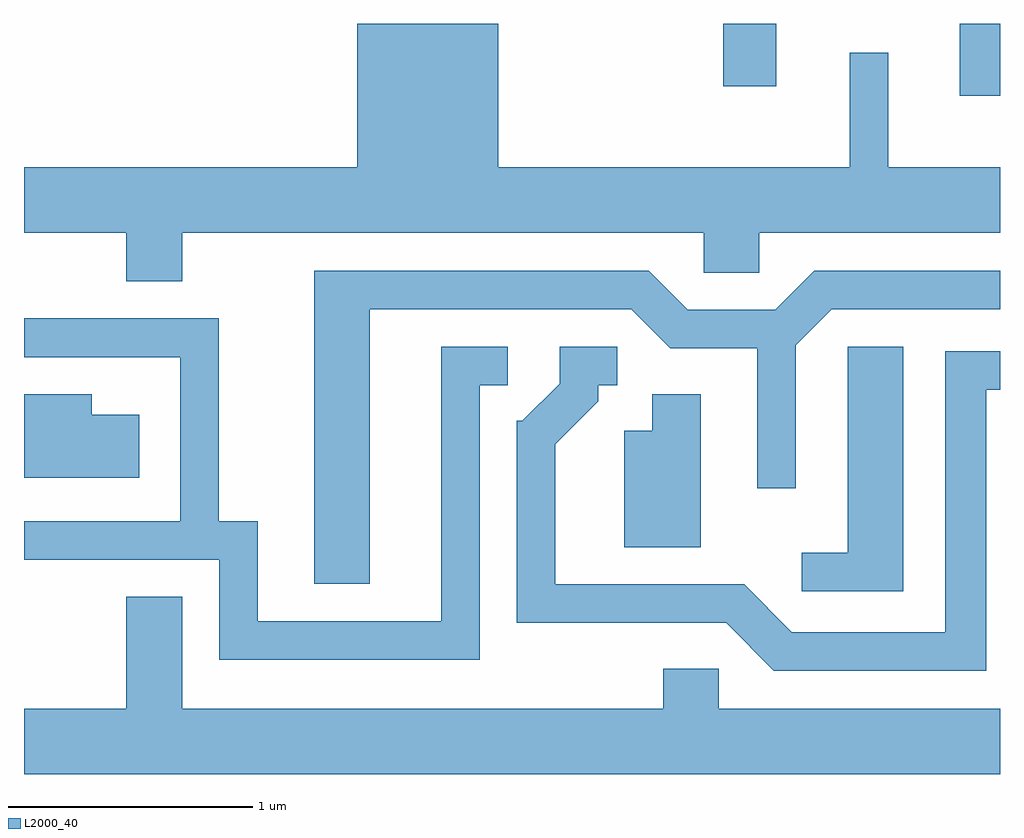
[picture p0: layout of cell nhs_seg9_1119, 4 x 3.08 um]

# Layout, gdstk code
import gdstk
lib = gdstk.Library(unit=1e-6, precision=1e-09)
def R(c, l, rs):  # rectangles x0, y0, x1, y1
    for r in rs: c.add(gdstk.rectangle(r[:2], r[2:], *l))
def P(c, l, *ps):  # polygons
    for p in ps: c.add(gdstk.Polygon(p, *l))
L2000_40 = (2000, 40)

nhs_seg9_1119 = lib.new_cell('nhs_seg9_1119')
R(nhs_seg9_1119, L2000_40, [(221.446,2010.136,221.611,2010.432), (220.476,2010.176,220.694,2010.432)])
P(nhs_seg9_1119, L2000_40, [(218.259,2009.576),(220.396,2009.576),(220.396,2009.411),(220.624,2009.411),(220.624,2009.576),(221.611,2009.576),(221.611,2009.844),(221.154,2009.844),(221.154,2010.313),(220.996,2010.313),(220.996,2009.844),(219.554,2009.844),(219.554,2010.432),(218.976,2010.432),(218.976,2009.844),(217.611,2009.844),(217.611,2009.576),(218.031,2009.576),(218.031,2009.376),(218.259,2009.376)],
  [(219.029,2009.261),(220.099,2009.261),(220.259,2009.101),(220.616,2009.101),(220.616,2008.528),(220.774,2008.528),(220.774,2009.114),(220.922,2009.261),(221.611,2009.261),(221.611,2009.419),(220.849,2009.419),(220.689,2009.259),(220.332,2009.259),(220.172,2009.419),(218.801,2009.419),(218.801,2008.136),(219.029,2008.136)],
  [(219.479,2008.951),(219.593,2008.951),(219.593,2009.109),(219.321,2009.109),(219.321,2007.984),(218.569,2007.984),(218.569,2008.394),(218.409,2008.394),(218.409,2009.224),(217.611,2009.224),(217.611,2009.066),(218.251,2009.066),(218.251,2008.394),(217.611,2008.394),(217.611,2008.236),(218.411,2008.236),(218.411,2007.826),(219.479,2007.826)],
  [(221.554,2008.931),(221.611,2008.931),(221.611,2009.089),(221.386,2009.089),(221.386,2007.939),(220.757,2007.939),(220.562,2008.134),(219.789,2008.134),(219.789,2008.709),(219.964,2008.884),(219.964,2008.951),(220.043,2008.951),(220.043,2009.109),(219.806,2009.109),(219.806,2008.957),(219.654,2008.804),(219.631,2008.804),(219.631,2007.976),(220.489,2007.976),(220.684,2007.781),(221.554,2007.781)],
  [(221.214,2009.109),(220.986,2009.109),(220.986,2008.264),(220.798,2008.264),(220.798,2008.106),(221.214,2008.106)],
  [(220.384,2008.914),(220.186,2008.914),(220.186,2008.764),(220.071,2008.764),(220.071,2008.286),(220.384,2008.286)],
  [(218.084,2008.829),(217.889,2008.829),(217.889,2008.914),(217.611,2008.914),(217.611,2008.571),(218.084,2008.571)],
  [(221.611,2007.624),(220.459,2007.624),(220.459,2007.789),(220.231,2007.789),(220.231,2007.624),(218.259,2007.624),(218.259,2008.084),(218.031,2008.084),(218.031,2007.624),(217.611,2007.624),(217.611,2007.356),(221.611,2007.356)])

lib.write_gds('nhs_seg9_1119.gds')
